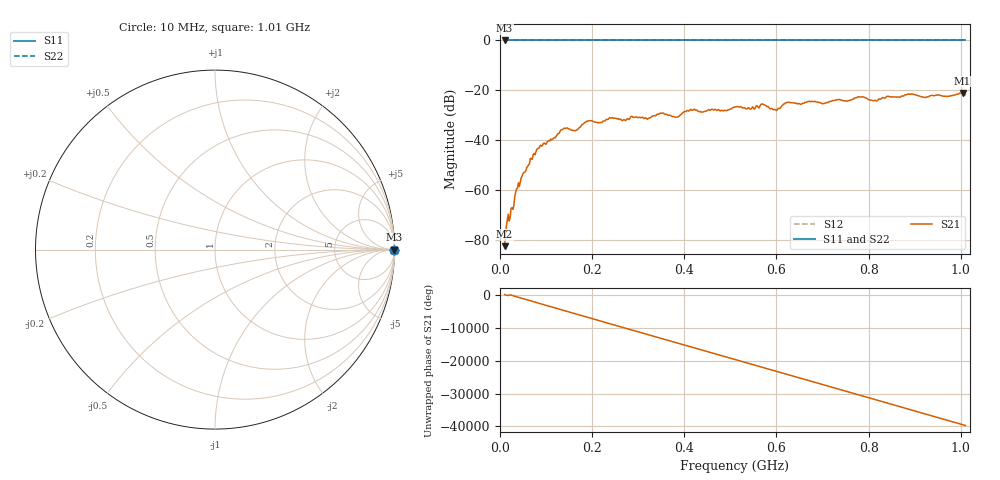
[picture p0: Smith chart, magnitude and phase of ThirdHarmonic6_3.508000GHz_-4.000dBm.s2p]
! 8/17/2025 11:28:24 AM
! C:\ANRITSUVNA\TEMP\TEMP.S2P
! CHANNEL.1
! TR.MEASUREMENT
! RAW.DATA
! RF.CORRECTION.OFF
! AVERAGING.OFF
! IF.BANDWIDTH: 5KHZ
! SWEEPTYPE:  FREQ.SWEEP(Linear)
! Reference Plane Port Info
! PORT:  PORT1  PORT2
! DISTANCE:  0  m  0  m
! TIME:  0  s  0  s
! PHASE.OFFSET:  0  deg.  0  deg.
! LOSS:  0  dB  0  dB
! REF.LOSS:  0  dB  0  dB
! REF.FREQ:  0  Hz  0  Hz
! Power Info
! POWER:  -20  dBm  -20  dBm
! EFF.POWER:  -20  dBm  -20  dBm
! SOURCE.ATTEN:  0  dB  0  dB
! TEST.ATTEN:  0  dB  0  dB
# GHZ S RI R 50.0
! FREQ.GHZ  S11RE  S11IM  S21RE  S21IM  S12RE  S12IM  S22RE  S22IM
!; PortSelection: Port_12
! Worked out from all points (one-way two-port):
!   501 points, 10 MHz to 1.01 GHz, reference 50 ohm
!   highest |S21| = -21.06 dB at 1.004 GHz (marker M1); lowest = -82.4 dB at 10 MHz (marker M2)
!   lowest |S11| = 0.0 dB at 10 MHz (marker M3)
!   |S11| at or under -10 dB: nowhere
!   |S22| runs from 0.0 to 0.0 dB; largest |S21 - S12| = 1.1
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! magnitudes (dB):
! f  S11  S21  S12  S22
! 10 MHz  0.0  -82.4  0.0  0.0
! 36 MHz  0.0  -59.5  0.0  0.0
! 76 MHz  0.0  -45.8  0.0  0.0
! 136 MHz  0.0  -35.6  0.0  0.0
! 164 MHz  0.0  -36.2  0.0  0.0
! 178 MHz  0.0  -33.7  0.0  0.0
! 192 MHz  0.0  -32.3  0.0  0.0
! 322 MHz  0.0  -31.2  0.0  0.0
! 344 MHz  0.0  -29.6  0.0  0.0
! 382 MHz  0.0  -30.7  0.0  0.0
! 418 MHz  0.0  -28.0  0.0  0.0
! 510 MHz  0.0  -26.6  0.0  0.0
! 570 MHz  0.0  -25.5  0.0  0.0
! 598 MHz  0.0  -27.8  0.0  0.0
! 624 MHz  0.0  -24.8  0.0  0.0
! 678 MHz  0.0  -24.5  0.0  0.0
! 702 MHz  0.0  -25.2  0.0  0.0
! 780 MHz  0.0  -22.6  0.0  0.0
! 814 MHz  0.0  -24.0  0.0  0.0
! 844 MHz  0.0  -22.4  0.0  0.0
! 1.004 GHz  0.0  -21.1  0.0  0.0
! 1.01 GHz  0.0  -21.7  0.0  0.0
